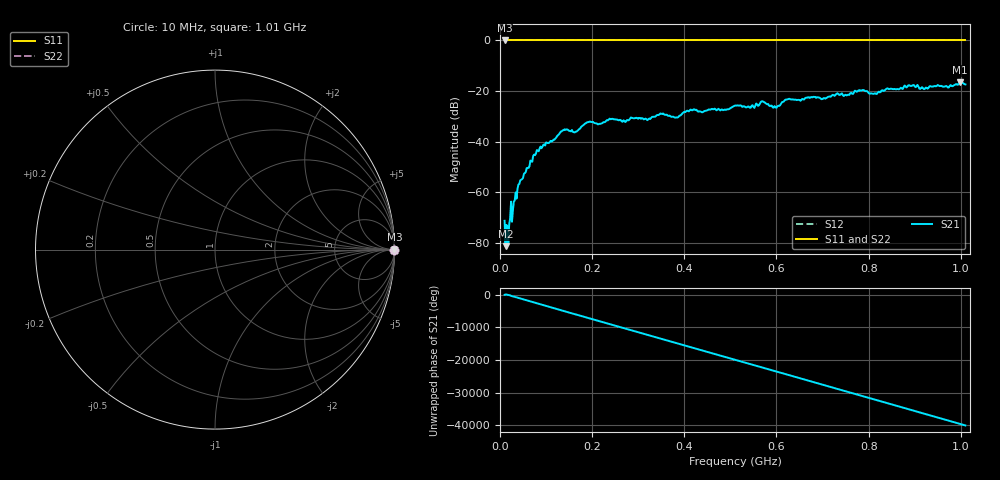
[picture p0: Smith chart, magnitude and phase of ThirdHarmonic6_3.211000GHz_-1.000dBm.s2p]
! 8/17/2025 9:46:44 AM
! C:\ANRITSUVNA\TEMP\TEMP.S2P
! CHANNEL.1
! TR.MEASUREMENT
! RAW.DATA
! RF.CORRECTION.OFF
! AVERAGING.OFF
! IF.BANDWIDTH: 5KHZ
! SWEEPTYPE:  FREQ.SWEEP(Linear)
! Reference Plane Port Info
! PORT:  PORT1  PORT2
! DISTANCE:  0  m  0  m
! TIME:  0  s  0  s
! PHASE.OFFSET:  0  deg.  0  deg.
! LOSS:  0  dB  0  dB
! REF.LOSS:  0  dB  0  dB
! REF.FREQ:  0  Hz  0  Hz
! Power Info
! POWER:  -20  dBm  -20  dBm
! EFF.POWER:  -20  dBm  -20  dBm
! SOURCE.ATTEN:  0  dB  0  dB
! TEST.ATTEN:  0  dB  0  dB
# GHZ S RI R 50.0
! FREQ.GHZ  S11RE  S11IM  S21RE  S21IM  S12RE  S12IM  S22RE  S22IM
!; PortSelection: Port_12
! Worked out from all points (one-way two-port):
!   501 points, 10 MHz to 1.01 GHz, reference 50 ohm
!   highest |S21| = -16.51 dB at 998 MHz (marker M1); lowest = -81.2 dB at 12 MHz (marker M2)
!   lowest |S11| = 0.0 dB at 10 MHz (marker M3)
!   |S11| at or under -10 dB: nowhere
!   |S22| runs from 0.0 to 0.0 dB; largest |S21 - S12| = 1.1
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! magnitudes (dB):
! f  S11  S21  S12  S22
! 10 MHz  0.0  -71.2  0.0  0.0
! 12 MHz  0.0  -81.2  0.0  0.0
! 16 MHz  0.0  -73.4  0.0  0.0
! 42 MHz  0.0  -56.6  0.0  0.0
! 76 MHz  0.0  -45.3  0.0  0.0
! 136 MHz  0.0  -35.5  0.0  0.0
! 162 MHz  0.0  -36.3  0.0  0.0
! 178 MHz  0.0  -33.8  0.0  0.0
! 344 MHz  0.0  -29.4  0.0  0.0
! 382 MHz  0.0  -30.4  0.0  0.0
! 416 MHz  0.0  -27.6  0.0  0.0
! 510 MHz  0.0  -25.7  0.0  0.0
! 548 MHz  0.0  -25.5  0.0  0.0
! 570 MHz  0.0  -24.0  0.0  0.0
! 596 MHz  0.0  -25.9  0.0  0.0
! 624 MHz  0.0  -23.2  0.0  0.0
! 678 MHz  0.0  -22.5  0.0  0.0
! 784 MHz  0.0  -19.8  0.0  0.0
! 814 MHz  0.0  -20.9  0.0  0.0
! 844 MHz  0.0  -19.2  0.0  0.0
! 998 MHz  0.0  -16.5  0.0  0.0
! 1.01 GHz  0.0  -17.4  0.0  0.0
